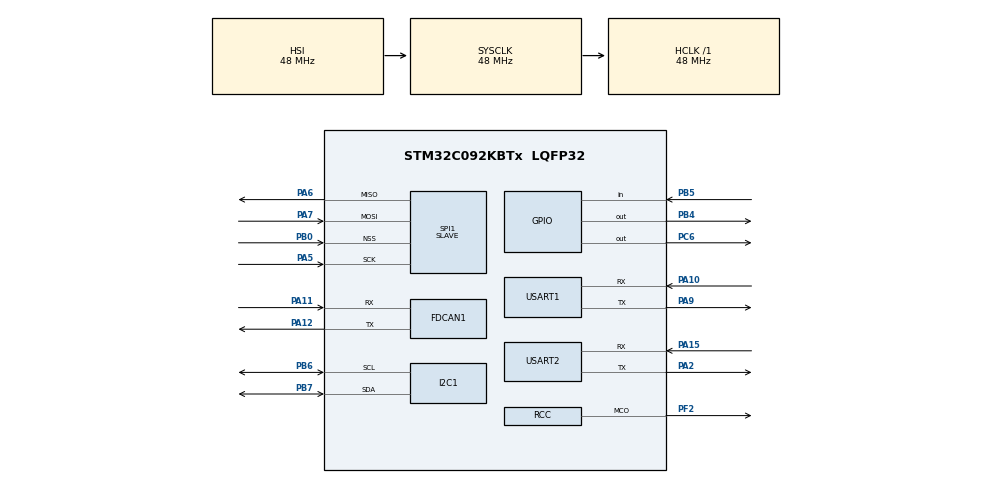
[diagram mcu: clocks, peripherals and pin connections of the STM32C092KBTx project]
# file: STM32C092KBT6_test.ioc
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FDCAN1.CalculateBaudRateNominal=1000000
FDCAN1.CalculateTimeQuantumNominal=333.3333333333333
I2C1.Timing=0x10805D88
Mcu.Family=STM32C0
Mcu.Name=STM32C092KBTx
Mcu.Package=LQFP32
NVIC.TIM14_IRQn=true\:0\:0\:false\:false\:true\:true\:true\:true
NVIC.USART1_IRQn=true\:0\:0\:false\:false\:true\:true\:true\:true
NVIC.USART2_IRQn=true\:0\:0\:false\:false\:true\:true\:true\:true
PA0.Signal=S_TIM1_CH1
PA1.Signal=S_TIM1_CH2
PA10.Mode=Asynchronous
PA10.Signal=USART1_RX
PA11\ [PA9].Mode=FDCAN_Activate
PA11\ [PA9].Signal=FDCAN1_RX
PA12\ [PA10].Mode=FDCAN_Activate
PA12\ [PA10].Signal=FDCAN1_TX
PA13.Mode=Serial_Wire
PA13.Signal=DEBUG_SWDIO
PA14-BOOT0.Mode=Serial_Wire
PA14-BOOT0.Signal=DEBUG_SWCLK
PA15.Mode=Asynchronous
PA15.Signal=USART2_RX
PA2.Mode=Asynchronous
PA2.Signal=USART2_TX
PA5.Mode=Full_Duplex_Slave
PA5.Signal=SPI1_SCK
PA6.Mode=Full_Duplex_Slave
PA6.Signal=SPI1_MISO
PA7.Mode=Full_Duplex_Slave
PA7.Signal=SPI1_MOSI
PA9.Mode=Asynchronous
PA9.Signal=USART1_TX
PB0.Mode=NSS_Signal_Hard_Input
PB0.Signal=SPI1_NSS
PB4.Signal=GPIO_Output
PB5.Signal=GPIO_Input
PB6.Mode=I2C
PB6.Signal=I2C1_SCL
PB7.Mode=I2C
PB7.Signal=I2C1_SDA
PC14-OSCX_IN(PC14).Signal=RCC_OSCX_IN
PC15-OSCX_OUT(PC15).Signal=RCC_OSCX_OUT
PC6.Signal=GPIO_Output
PF2-NRST.Mode=Clock-out
PF2-NRST.Signal=RCC_MCO
ProjectManager.HeapSize=0x200
ProjectManager.StackSize=0x400
ProjectManager.TargetToolchain=CMake
RCC.ADCFreq_Value=48000000
RCC.AHBFreq_Value=48000000
RCC.CortexFreq_Value=48000000
RCC.EXTERNAL_CLOCK_VALUE=12288000
RCC.HCLKFreq_Value=48000000
RCC.HSE_VALUE=8000000
RCC.HSISYSCLKDivider=RCC_HSI_DIV1
RCC.HSI_VALUE=48000000
RCC.LSE_VALUE=32768
RCC.SYSCLKFreq_VALUE=48000000
SH.S_TIM1_CH1.0=TIM1_CH1
SH.S_TIM1_CH2.0=TIM1_CH2
SPI1.Direction=SPI_DIRECTION_2LINES
SPI1.Mode=SPI_MODE_SLAVE
SPI1.VirtualNSS=VM_NSSHARD
SPI1.VirtualType=VM_SLAVE
TIM14.AutoReloadPreload=TIM_AUTORELOAD_PRELOAD_DISABLE
TIM14.Period=999
TIM14.Prescaler=47
USART1.VirtualMode-Asynchronous=VM_ASYNC
USART2.VirtualMode-Asynchronous=VM_ASYNC
VP_DMAMUX_VS_DMAMUX.Mode=DMAMUX_Activate
VP_TIM14_VS_ClockSourceINT.Mode=Enable_Timer
board=custom

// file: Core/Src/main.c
/* USER CODE BEGIN Header */
/**
  ******************************************************************************
  * @file           : main.c
  * @brief          : Main program body
  ******************************************************************************
  * @attention
  *
  * Copyright (c) 2026 STMicroelectronics.
  * All rights reserved.
  *
  * This software is licensed under terms that can be found in the LICENSE file
  * in the root directory of this software component.
  * If no LICENSE file comes with this software, it is provided AS-IS.
  *
  ******************************************************************************
  */
/* USER CODE END Header */
#include "main.h"
#include "dmamux.h"
#include "fdcan.h"
#include "i2c.h"
#include "spi.h"
#include "tim.h"
#include "usart.h"
#include "gpio.h"

/* USER CODE BEGIN Includes */
#include <stdio.h>
#include "SPM_Modbus.h"
#include "mcp23017.h"
/* USER CODE END Includes */

/* USER CODE BEGIN PV */
//デバイス定義
int16_t model_no = 50;
int16_t version = 1;
int16_t sub_version = 0;

//シリアルデータ
typedef struct {
  int16_t rx_len;
  uint8_t recv_data;
  uint8_t rx_buf[256];
  uint8_t tx_buf[256];
} SerialData;
SerialData serial1;
SerialData serial2;

//CANデータ
uint32_t can_id;
uint32_t can_dlc;
uint8_t can_data[8];

//アプリケーション変数
int16_t dev_id=1;
int16_t io_mode=0; //0通常動作　1:セーフティ動作
//通常動作時の入出力
int16_t io_in=0;
int16_t io_out=0;
//セーフティモード時の入出力
int16_t io_in_fillter = 0xff;	//入力のフィルター ビットが1のもののみセーフティが有効
int16_t io_norm_in=0x00;		//正常時の入力状態。これと異なる場合に異常と判定
int16_t io_norm_out=0x00;		//正常時の出力
int16_t io_anom_out=0xff;		//異常時の出力
int16_t io_state=0;				//0正常　1:異常
/* USER CODE END PV */

void SystemClock_Config(void);

int main(void)
{

  /* MCU Configuration--------------------------------------------------------*/

  /* Reset of all peripherals, Initializes the Flash interface and the Systick. */
  HAL_Init();

  /* Configure the system clock */
  SystemClock_Config();

  /* Initialize all configured peripherals */
  MX_GPIO_Init();
  MX_FDCAN1_Init();
  MX_USART1_UART_Init();
  MX_SPI1_Init();
  MX_USART2_UART_Init();
  MX_TIM14_Init();
  MX_DMAMUX_Init();
  MX_I2C1_Init();
  /* USER CODE BEGIN 2 */
  //IOexpander intialize
  MCP23017_HandleTypeDef hmcp;
  mcp23017_init(&hmcp, &hi2c1, MCP23017_ADDRESS_20);
  mcp23017_iodir(&hmcp, MCP23017_PORTA, MCP23017_IODIR_ALL_INPUT);
  mcp23017_iodir(&hmcp, MCP23017_PORTB, MCP23017_IODIR_ALL_OUTPUT);
  mcp23017_ggpu(&hmcp, MCP23017_PORTA, MCP23017_GPPU_ALL_ENABLED); // PORTA内蔵プルアップ(約100kΩ)有効

  //各レジスタ初期化
  SPM_ModbusInit();

  //レジスタ登録
  p_input_regs[0] = &model_no;   //モデルナンバー
  p_input_regs[1] = &version; //バージョン
  p_input_regs[2] = &sub_version; //サブバージョン
  p_input_regs[3] = &io_in; //サブバージョン
  p_input_regs[4] = &io_out; //サブバージョン
  p_input_regs[5] = &io_mode;
  p_input_regs[6] = &io_in_fillter;
  p_input_regs[7] = &io_norm_in;
  p_input_regs[8] = &io_norm_out;
  p_input_regs[9] = &io_anom_out;
  p_input_regs[10] = &io_state;

  p_holding_regs[0] = &dev_id;
  p_holding_regs[1] = &io_in;
  p_holding_regs[2] = &io_out;
  p_holding_regs[3] = &io_mode;
  p_holding_regs[4] = &io_in_fillter;
  p_holding_regs[5] = &io_norm_in;
  p_holding_regs[6] = &io_norm_out;
  p_holding_regs[7] = &io_anom_out;
  p_holding_regs[8] = &io_state;

  //Cyclic Function登録
  cycfunc0.rx_len = 2;
  cycfunc0.rx_adr[0] = &io_in;
  cycfunc0.rx_adr[1] = &io_out;
  cycfunc0.tx_len = 1;
  cycfunc0.tx_adr[0] = &io_out;

  ParamLoad();
  io_out=0;
  io_state=0;
  SPM_ModbusSetAddress(dev_id);

  HAL_UART_Receive_IT(&huart1, &serial1.recv_data, 1);
  HAL_UART_Receive_IT(&huart2, &serial2.recv_data, 1);

  HAL_TIM_Base_Start_IT(&htim14); // Start TIM14 for periodic interrupts
  HAL_GPIO_WritePin(GPIOB, GPIO_PIN_4, GPIO_PIN_RESET); // LED ON

  //MCP23017のテスト
  // uint8_t portB_val = 0;
  // while(1)
  // {
  //     // Read input from MCP23017 port A
  //     mcp23017_read_gpio(&hmcp, MCP23017_PORTA);
  //     uint8_t portA_val = hmcp.gpio[MCP23017_PORTA];
  //     //シリアル送信
  //     int16_t l = sprintf((char*)tx_buf, "Port A Value: 0x%02X\r\n", portA_val);
  //     HAL_UART_Transmit(&huart2, tx_buf, l, HAL_MAX_DELAY);
  //     //portBの出力をトグル
  //     portB_val = ~portB_val;
  //     hmcp.gpio[MCP23017_PORTB] = portB_val;	//書き込み
  //     mcp23017_write_gpio(&hmcp, MCP23017_PORTB);	//出力の書き込み
  //     HAL_Delay(500); // 500ms delay
  // }

  //FDCAN1 filter configuration
  // FDCAN_FilterTypeDef sFilterConfig;
  // sFilterConfig.IdType = FDCAN_STANDARD_ID;
  // sFilterConfig.FilterIndex = 0;
  // sFilterConfig.FilterType = FDCAN_FILTER_MASK;
  // sFilterConfig.FilterConfig = FDCAN_FILTER_TO_RXFIFO0;
  // sFilterConfig.FilterID1 = 0x123; // Standard ID is configured as-is (no manual bit shift)
  // sFilterConfig.FilterID2 = 0x7FF; // Filter mask (accept all IDs)
  // if (HAL_FDCAN_ConfigFilter(&hfdcan1, &sFilterConfig) != HAL_OK)
  // {
  //   TxDataLength = sprintf((char*)TxData, "FDCAN Filter Configuration Error\r\n");
  //   HAL_UART_Transmit(&huart1, TxData, TxDataLength, HAL_MAX_DELAY);
  //   // Filter configuration Error
  //   Error_Handler();
  // }else{

  //   TxDataLength = sprintf((char*)TxData, "FDCAN Filter Configuration Success\r\n");
  //   HAL_UART_Transmit(&huart1, TxData, TxDataLength, HAL_MAX_DELAY);
  // }

  // // Start FDCAN module
  // if (HAL_FDCAN_Start(&hfdcan1) != HAL_OK)
  // {
  //   TxDataLength = sprintf((char*)TxData, "FDCAN Start Error\r\n");
  //   HAL_UART_Transmit(&huart1, TxData, TxDataLength, HAL_MAX_DELAY);
  //   // Start Error
  //   Error_Handler();
  // }else{
  //   TxDataLength = sprintf((char*)TxData, "FDCAN Start Success\r\n");
  //   HAL_UART_Transmit(&huart1, TxData, TxDataLength, HAL_MAX_DELAY);
  // }

  /* USER CODE END 2 */

  /* Infinite loop */
  /* USER CODE BEGIN WHILE */
  while (1)
  {
		//IO動作
	  	mcp23017_read_gpio(&hmcp, MCP23017_PORTA);	//入力を読み取り
  	    io_in = hmcp.gpio[MCP23017_PORTA];	//入力を取得
	    if(io_mode == 0){
	    	//通常動作時
	    	hmcp.gpio[MCP23017_PORTB] = (uint8_t)io_out;	//書き込み
        //デバック用
        //hmcp.gpio[MCP23017_PORTB] = (uint8_t)io_in;	//書き込み
	    }else{
	    	//セーフティモード時
	    	uint8_t io_in_fix = io_in & (uint8_t)io_in_fillter;	//入力のフィルタ
	    	if(io_in_fix != io_norm_in) io_state = 1;	//入力を判定
	    	if( io_state == 0){
	    		//正常時の出力
	    		io_out = io_norm_out;
	    	}else{
	    		//異常時の出力
	    		io_out = io_anom_out;
	    	}
	    	hmcp.gpio[MCP23017_PORTB] = (uint8_t)io_out;	//書き込み
	    }
	    mcp23017_write_gpio(&hmcp, MCP23017_PORTB);	//出力の書き込み

      //UA
		  if(serial1.rx_len>0){
			  HAL_Delay(10);
			  int16_t tx_len = SPM_ModbusTask(serial1.rx_buf, serial1.rx_len, serial1.tx_buf);
			  HAL_UART_Transmit_IT(&huart1, serial1.tx_buf, tx_len);
			  serial1.rx_len=0;
		  }

		  if(serial2.rx_len>0){
			  HAL_Delay(10);
			  int16_t tx_len = SPM_ModbusTask(serial2.rx_buf, serial2.rx_len, serial2.tx_buf);
			  HAL_UART_Transmit_IT(&huart2, serial2.tx_buf, tx_len);
			  serial2.rx_len=0;
		  }

		/*if(timer_1s==0){
			CAN_TxHeaderTypeDef TxHeader;
			uint32_t TxMailbox;
			uint8_t TxData[8];
			if(0 < HAL_CAN_GetTxMailboxesFreeLevel(&hcan)){
				  TxHeader.StdId = 0x555;                 // CAN ID
				  TxHeader.RTR = CAN_RTR_DATA;            //
				  TxHeader.IDE = CAN_ID_STD;              //
				  TxHeader.DLC = 8;                       //
				  TxHeader.TransmitGlobalTime = DISABLE;  //
				  TxData[0] = 'H';
				  TxData[1] = 'E';
				  TxData[2] = 'L';
				  TxData[3] = 'L';
				  TxData[4] = 'O';
				  TxData[5] = '!';
				  TxData[6] = '!';
				  TxData[7] = '!';
				  HAL_CAN_AddTxMessage(&hcan, &TxHeader, TxData, &TxMailbox);
			}

		    int8_t buf[50];
		    int16_t l = sprintf(buf,"PA=%d, PB=%d\r\n",
		    				hmcp.gpio[MCP23017_PORTA],
							hmcp.gpio[MCP23017_PORTB]);
		    HAL_UART_Transmit( &huart1, buf, l, 0xFFFF);
		}*/
		HAL_Delay(1);
    /* USER CODE END WHILE */

  }
}

void SystemClock_Config(void)
{
  RCC_OscInitTypeDef RCC_OscInitStruct = {0};
  RCC_ClkInitTypeDef RCC_ClkInitStruct = {0};

  __HAL_FLASH_SET_LATENCY(FLASH_LATENCY_1);

  /** Initializes the RCC Oscillators according to the specified parameters
  * in the RCC_OscInitTypeDef structure.
  */
  RCC_OscInitStruct.OscillatorType = RCC_OSCILLATORTYPE_HSI;
  RCC_OscInitStruct.HSIState = RCC_HSI_ON;
  RCC_OscInitStruct.HSIDiv = RCC_HSI_DIV1;
  RCC_OscInitStruct.HSICalibrationValue = RCC_HSICALIBRATION_DEFAULT;
  if (HAL_RCC_OscConfig(&RCC_OscInitStruct) != HAL_OK)
  {
    Error_Handler();
  }

  /** Initializes the CPU, AHB and APB buses clocks
  */
  RCC_ClkInitStruct.ClockType = RCC_CLOCKTYPE_HCLK|RCC_CLOCKTYPE_SYSCLK
                              |RCC_CLOCKTYPE_PCLK1;
  RCC_ClkInitStruct.SYSCLKSource = RCC_SYSCLKSOURCE_HSI;
  RCC_ClkInitStruct.SYSCLKDivider = RCC_SYSCLK_DIV1;
  RCC_ClkInitStruct.AHBCLKDivider = RCC_HCLK_DIV1;
  RCC_ClkInitStruct.APB1CLKDivider = RCC_APB1_DIV1;

  if (HAL_RCC_ClockConfig(&RCC_ClkInitStruct, FLASH_LATENCY_1) != HAL_OK)
  {
    Error_Handler();
  }
  HAL_RCC_MCOConfig(RCC_MCO1, RCC_MCO1SOURCE_SYSCLK, RCC_MCODIV_1);
}

/* USER CODE BEGIN 4 */

void HAL_TIM_PWM_PulseFinishedCallback(TIM_HandleTypeDef *htim)
{
}

volatile int timer_1s = 0; // タイマーカウンタ
volatile int timer_10ms = 0; // タイマーカウンタ
volatile int led_state[4] = {0,0,0,0}; // タイマーカウンタ
void HAL_TIM_PeriodElapsedCallback(TIM_HandleTypeDef *htim)
{
    if(htim->Instance==TIM14)
    {
        timer_1s++;
        if(timer_1s>=1000)
        {
            timer_1s=0;
            HAL_GPIO_TogglePin(GPIOC, GPIO_PIN_6); // Toggle LED to indicate 1 second elapsed
        }
    }
}

void HAL_UART_RxCpltCallback(UART_HandleTypeDef *huart)
{
   if (huart->Instance == USART1)
   {
	   serial1.rx_buf[serial1.rx_len] = serial1.recv_data;
	   serial1.rx_len++;
       HAL_UART_Receive_IT(&huart1, &serial1.recv_data, 1);
   }else if (huart->Instance == USART2)
   {
	   serial2.rx_buf[serial2.rx_len] = serial2.recv_data;
	   serial2.rx_len++;
       HAL_UART_Receive_IT(&huart2, &serial2.recv_data, 1);
   }
}
/* USER CODE END 4 */

void Error_Handler(void)
{
  /* USER CODE BEGIN Error_Handler_Debug */
  while(1)
  {
    HAL_GPIO_TogglePin(GPIOB, GPIO_PIN_4); // Toggle LED to indicate error
    HAL_Delay(100); // 0.1秒待機
  }
  /* User can add his own implementation to report the HAL error return state */
  __disable_irq();
  while (1)
  {
  }
  /* USER CODE END Error_Handler_Debug */
}
